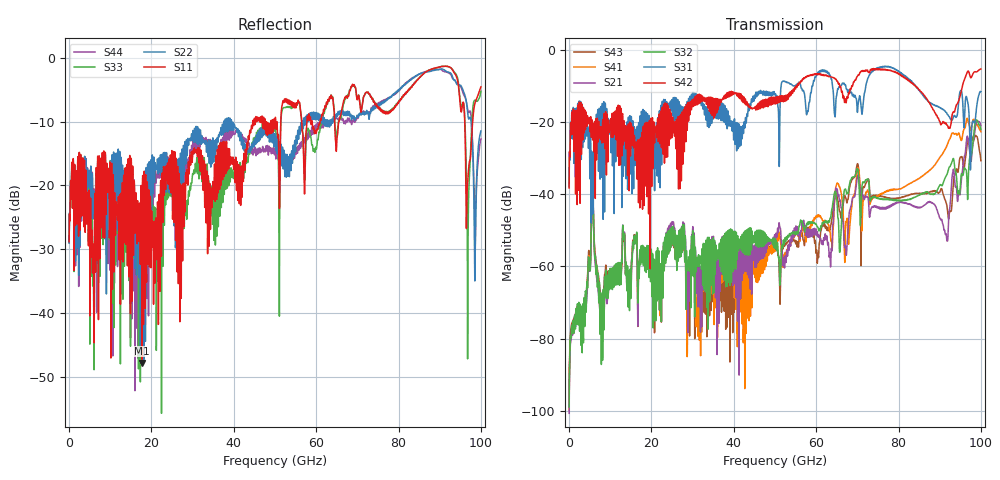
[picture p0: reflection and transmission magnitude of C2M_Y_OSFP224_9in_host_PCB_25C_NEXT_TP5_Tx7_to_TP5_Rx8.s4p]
# GHz S RI R 45
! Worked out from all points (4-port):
!   4000 points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, 25 MHz to 100 GHz, reference 45 ohm
!   strongest paths, dB at 25 MHz, 25.02 GHz, 50.02 GHz, 75.03 GHz, 100 GHz:
!     S42: -38.3, -22.6, -13.3, -5.3, -5.3
!     S31: -38.0, -14.1, -12.4, -5.0, -11.6
!     S32: -98.9, -49.3, -54.0, -41.2, -22.1
!     S21: -100.7, -47.6, -52.6, -43.5, -21.1
!     S41: -99.7, -50.4, -53.0, -40.5, -22.7
!     S43: -98.1, -52.7, -55.2, -40.3, -30.8
!   lowest |S11| = -47.8 dB at 17.7 GHz (marker M1), VSWR 1.01, Z = 45.1 + j0.352 ohm
!   |S11| at or under -10 dB: start of sweep to 44.62 GHz; 59.03 GHz to 60.93 GHz (1.901 GHz wide, 3.17 % of centre); 96.08 GHz to 98 GHz (1.927 GHz wide, 1.99 % of centre) (the widest 3 of 18)
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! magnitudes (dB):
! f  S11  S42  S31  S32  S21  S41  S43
! 25 MHz  -28.8  -38.3  -38.0  -98.9  -100.7  -99.7  -98.1
! 5.775 GHz  -32.2  -23.7  -31.9  -38.9  -39.0  -38.9  -38.8
! 8.025 GHz  -16.0  -25.8  -16.5  -68.6  -82.5  -75.2  -70.3
! 17.7 GHz  -47.8  -22.9  -21.7  -58.7  -54.6  -55.8  -58.0
! 31.73 GHz  -14.4  -13.5  -14.6  -57.4  -60.7  -70.2  -63.3
! 91.55 GHz  -1.4  -20.3  -17.4  -35.0  -51.0  -27.1  -42.5
! 100 GHz  -4.6  -5.3  -11.6  -22.1  -21.1  -22.7  -30.8
